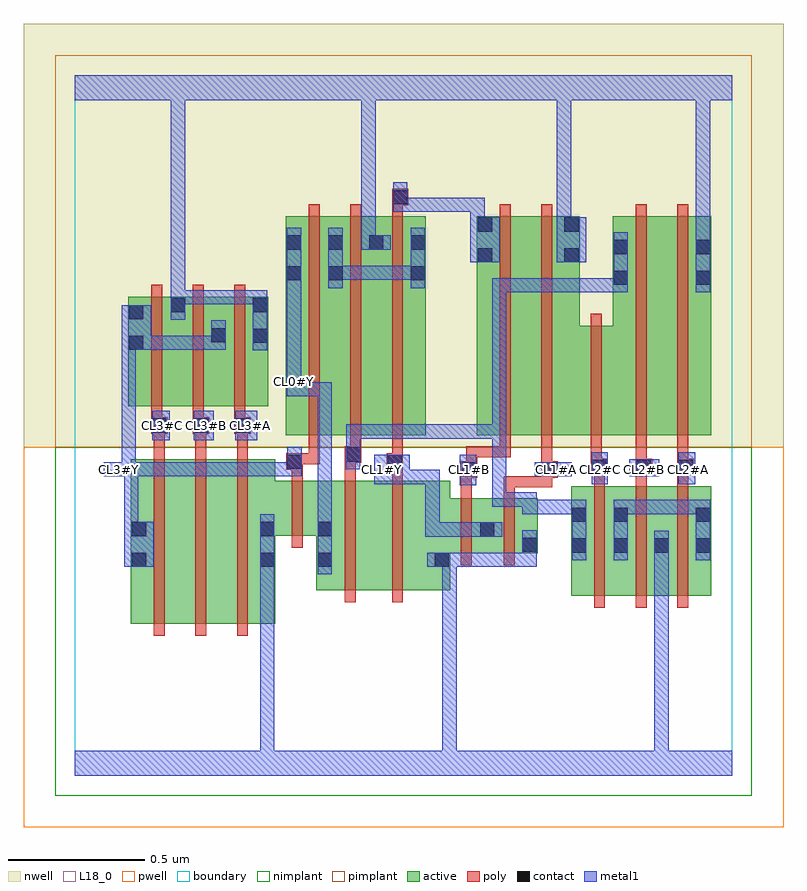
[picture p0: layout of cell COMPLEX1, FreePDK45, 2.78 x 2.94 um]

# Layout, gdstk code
import gdstk
lib = gdstk.Library(unit=1e-6, precision=1e-09)
def R(c, l, rs):  # rectangles x0, y0, x1, y1
    for r in rs: c.add(gdstk.rectangle(r[:2], r[2:], *l))
def A(c, l, x, y, w, h, nx, ny, dx, dy):  # array of equal rectangles
    R(c, l, [(x+i*dx, y+j*dy, x+i*dx+w, y+j*dy+h) for i in range(nx) for j in range(ny)])
active = (1, 0)
pwell = (2, 0)
nwell = (3, 0)
nimplant = (4, 0)
pimplant = (5, 0)
poly = (9, 0)
contact = (10, 0)
metal1 = (11, 0)
L18_0 = (18, 0)
boundary = (235, 0)

complex1 = lib.new_cell('COMPLEX1')
R(complex1, active, [(0.204,0.556,0.384,1.156), (0.204,0.556,0.264,1.156), (0.384,0.556,0.536,1.156), (0.536,0.556,0.732,1.156), (1.812,0.658,2.024,1.058), (1.964,0.658,2.172,1.058), (2.112,0.658,2.324,1.058), (2.112,0.658,2.172,1.058), (0.882,0.678,1.102,1.078), (0.882,0.678,0.942,0.932), (1.102,0.678,1.37,1.078), (1.812,0.756,1.872,1.058), (1.964,0.756,2.024,0.984), (2.264,0.756,2.324,1.058), (0.672,0.76,0.732,1.078), (1.31,0.76,1.37,0.82), (1.31,0.814,1.536,1.014), (1.476,0.814,1.69,1.014), (1.476,0.814,1.536,0.93), (1.63,0.814,1.69,1.014), (0.672,0.878,0.942,1.078), (0.77,1.244,0.83,2.044), (0.77,1.244,0.982,2.044), (0.922,1.244,1.13,2.044), (1.07,1.244,1.282,2.044), (1.222,1.244,1.282,2.044), (1.468,1.244,1.528,2.044), (1.468,1.244,1.648,2.044), (1.648,1.244,1.844,2.044), (1.784,1.244,1.844,2.044), (1.784,1.244,2.024,1.644), (1.964,1.244,2.024,2.044), (1.964,1.244,2.144,2.044), (2.144,1.244,2.324,2.044), (2.264,1.244,2.324,2.044), (0.194,1.35,0.406,1.75), (0.194,1.35,0.254,1.724), (0.346,1.35,0.406,1.75), (0.346,1.35,0.554,1.75), (0.494,1.35,0.706,1.75), (0.494,1.35,0.554,1.644), (0.646,1.35,0.706,1.75), (0.922,1.686,0.982,2.044), (1.07,1.686,1.13,2.044)])
R(complex1, pwell, [(-0.188,-0.188,2.588,1.2)])
R(complex1, nwell, [(-0.188,1.2,2.588,2.748)])
R(complex1, nimplant, [(-0.072,-0.072,2.472,1.2)])
R(complex1, pimplant, [(-0.072,1.2,2.472,2.632)])
A(complex1, poly, 0.288, 0.512, 0.04, 0.688, 3, 1, 0.152, 0)
A(complex1, poly, 1.896, 0.614, 0.04, 0.488, 3, 1, 0.152, 0)
A(complex1, poly, 1.896, 1.062, 0.04, 0.076, 3, 1, 0.152, 0)
A(complex1, poly, 0.288, 1.16, 0.04, 0.13, 3, 1, 0.152, 0)
A(complex1, poly, 0.854, 1.2, 0.04, 0.888, 3, 1, 0.152, 0)
A(complex1, poly, 0.278, 1.25, 0.06, 0.06, 3, 1, 0.152, 0)
A(complex1, poly, 0.278, 1.27, 0.04, 0.076, 3, 1, 0.152, 0)
A(complex1, poly, 0.278, 1.306, 0.04, 0.488, 3, 1, 0.152, 0)
R(complex1, poly, [(0.986,0.634,1.026,1.122), (1.158,0.634,1.198,1.122), (1.41,0.77,1.45,1.058), (1.566,0.77,1.606,1.058), (0.792,0.834,0.832,1.122), (1.41,1.018,1.45,1.13), (1.566,1.018,1.606,1.094), (1.566,1.054,1.744,1.094), (1.704,1.054,1.744,1.13), (0.792,1.082,0.832,1.158), (0.986,1.082,1.026,1.184), (1.158,1.082,1.198,1.158), (1.41,1.09,1.47,1.15), (1.704,1.09,1.764,1.15), (1.884,1.098,1.944,1.158), (1.896,1.098,1.936,1.138), (1.896,1.098,1.936,1.138), (2.048,1.098,2.108,1.158), (2.2,1.098,2.24,1.138), (2.2,1.098,2.24,1.138), (2.2,1.098,2.26,1.158), (1.43,1.11,1.47,1.204), (1.704,1.11,1.744,1.24), (0.772,1.118,0.832,1.178), (1.138,1.118,1.198,1.178), (1.884,1.118,1.924,1.24), (2.048,1.118,2.088,1.24), (2.048,1.118,2.088,1.158), (2.048,1.118,2.088,1.158), (2.2,1.118,2.24,1.24), (0.792,1.138,0.832,1.178), (0.792,1.138,0.894,1.178), (0.854,1.138,0.894,1.24), (1.158,1.138,1.198,1.178), (1.158,1.138,1.198,1.178), (1.158,1.138,1.198,1.24), (0.986,1.144,1.026,1.184), (0.986,1.144,1.026,1.184), (0.986,1.144,1.046,1.204), (1.006,1.164,1.046,1.24), (1.43,1.164,1.592,1.204), (1.552,1.164,1.592,1.24), (1.552,1.2,1.592,2.088), (1.704,1.2,1.744,2.088), (1.884,1.2,1.924,1.688), (2.048,1.2,2.088,2.088), (2.2,1.2,2.24,2.088), (0.288,1.25,0.328,1.29), (0.288,1.25,0.328,1.29), (0.44,1.25,0.48,1.29), (0.44,1.25,0.48,1.29), (0.592,1.25,0.632,1.29), (0.592,1.25,0.632,1.29), (1.158,2.048,1.198,2.124), (1.158,2.084,1.218,2.144)])
A(complex1, contact, 0.282, 1.254, 0.052, 0.052, 3, 1, 0.152, 0)
R(complex1, contact, [(0.208,0.764,0.26,0.816), (0.676,0.764,0.728,0.816), (0.886,0.764,0.938,0.816), (1.314,0.764,1.366,0.816), (1.816,0.816,1.868,0.868), (1.968,0.816,2.02,0.868), (2.116,0.816,2.168,0.868), (2.268,0.816,2.32,0.868), (1.634,0.818,1.686,0.87), (1.48,0.874,1.532,0.926), (0.208,0.876,0.26,0.928), (0.676,0.876,0.728,0.928), (0.886,0.876,0.938,0.928), (1.816,0.928,1.868,0.98), (1.968,0.928,2.02,0.98), (2.268,0.928,2.32,0.98), (1.414,1.094,1.466,1.146), (1.708,1.094,1.76,1.146), (1.888,1.102,1.94,1.154), (2.052,1.102,2.104,1.154), (2.204,1.102,2.256,1.154), (0.776,1.122,0.828,1.174), (1.142,1.122,1.194,1.174), (0.99,1.148,1.042,1.2), (0.198,1.556,0.25,1.608), (0.65,1.582,0.702,1.634), (0.498,1.584,0.55,1.636), (0.198,1.668,0.25,1.72), (0.35,1.694,0.402,1.746), (0.65,1.694,0.702,1.746), (1.968,1.794,2.02,1.846), (2.268,1.794,2.32,1.846), (0.774,1.81,0.826,1.862), (0.926,1.81,0.978,1.862), (1.226,1.81,1.278,1.862), (1.472,1.876,1.524,1.928), (1.788,1.876,1.84,1.928), (1.968,1.906,2.02,1.958), (2.268,1.906,2.32,1.958), (0.774,1.922,0.826,1.974), (0.926,1.922,0.978,1.974), (1.074,1.922,1.126,1.974), (1.226,1.922,1.278,1.974), (1.472,1.988,1.524,2.04), (1.788,1.988,1.84,2.04), (1.162,2.088,1.214,2.14)])
A(complex1, metal1, 0.35, 1.094, 0.052, 0.052, 3, 1, 0.11, 0)
R(complex1, metal1, [(0,0,2.4,0.092), (0.676,0.04,0.728,0.092), (0.676,0.04,0.728,0.092), (0.676,0.04,0.728,0.092), (0.676,0.04,0.728,0.092), (0.676,0.04,0.728,0.092), (0.676,0.04,0.728,0.092), (0.676,0.04,0.728,0.092), (0.676,0.04,0.728,0.092), (0.676,0.04,0.728,0.788), (1.342,0.04,1.394,0.092), (1.342,0.04,1.394,0.092), (1.342,0.04,1.394,0.092), (1.342,0.04,1.394,0.092), (1.342,0.04,1.394,0.092), (1.342,0.04,1.394,0.092), (1.342,0.04,1.394,0.092), (1.342,0.04,1.394,0.092), (1.342,0.04,1.394,0.816), (2.116,0.04,2.168,0.092), (2.116,0.04,2.168,0.092), (2.116,0.04,2.168,0.092), (2.116,0.04,2.168,0.092), (2.116,0.04,2.168,0.092), (2.116,0.04,2.168,0.092), (2.116,0.04,2.168,0.092), (2.116,0.04,2.168,0.092), (2.116,0.04,2.168,0.84), (0.676,0.736,0.728,0.956), (0.886,0.736,0.938,0.956), (0.18,0.764,0.288,0.928), (1.286,0.764,1.394,0.816), (1.342,0.764,1.394,0.816), (1.342,0.764,1.394,0.816), (1.342,0.764,1.394,0.816), (1.342,0.764,1.394,0.816), (1.342,0.764,1.394,0.816), (1.342,0.764,1.394,0.816), (1.342,0.764,1.394,0.816), (1.342,0.764,1.394,0.816), (1.342,0.764,1.576,0.816), (1.524,0.764,1.576,0.816), (1.524,0.764,1.576,0.816), (1.524,0.764,1.576,0.816), (1.524,0.764,1.686,0.816), (1.634,0.764,1.686,0.842), (1.816,0.788,1.868,1.008), (1.968,0.788,2.02,1.008), (2.116,0.788,2.168,0.84), (2.116,0.788,2.168,0.84), (2.116,0.788,2.168,0.84), (2.116,0.788,2.168,0.84), (2.116,0.788,2.168,0.896), (2.268,0.788,2.32,1.008), (1.634,0.79,1.686,0.842), (1.634,0.79,1.686,0.898), (1.28,0.874,1.332,0.926), (1.28,0.874,1.504,0.926), (1.28,0.874,1.332,1.118), (1.452,0.874,1.504,0.926), (1.452,0.874,1.504,0.926), (1.452,0.874,1.56,0.926), (0.18,0.876,0.232,1.146), (0.886,0.904,0.938,0.956), (0.886,0.904,0.938,0.956), (0.886,0.904,0.938,1.438), (1.634,0.956,1.868,1.008), (1.634,0.956,1.686,1.036), (1.816,0.956,1.868,1.008), (1.816,0.956,1.868,1.008), (1.968,0.956,2.02,1.008), (1.968,0.956,2.02,1.008), (1.968,0.956,2.21,1.008), (2.158,0.956,2.21,1.008), (2.158,0.956,2.32,1.008), (2.268,0.956,2.32,1.008), (2.268,0.956,2.32,1.008), (1.524,0.984,1.576,1.036), (1.524,0.984,1.686,1.036), (1.524,0.984,1.576,1.284), (1.634,0.984,1.686,1.036), (1.634,0.984,1.686,1.036), (1.406,1.062,1.466,1.174), (1.094,1.066,1.222,1.174), (1.17,1.066,1.332,1.118), (1.28,1.066,1.332,1.118), (1.28,1.066,1.332,1.118), (1.28,1.066,1.332,1.118), (1.888,1.066,1.946,1.182), (2.204,1.066,2.266,1.182), (0.106,1.094,0.232,1.146), (0.17,1.094,0.222,1.608), (0.18,1.094,0.232,1.146), (0.18,1.094,0.232,1.146), (0.18,1.094,0.402,1.146), (0.35,1.094,0.402,1.146), (0.35,1.094,0.402,1.146), (0.35,1.094,0.512,1.146), (0.46,1.094,0.622,1.146), (0.57,1.094,0.622,1.146), (0.57,1.094,0.622,1.146), (0.57,1.094,0.828,1.146), (0.776,1.094,0.828,1.146), (0.776,1.094,0.828,1.146), (0.776,1.094,0.828,1.202), (1.68,1.094,1.814,1.146), (2.024,1.094,2.134,1.156), (0.99,1.12,1.042,1.284), (0.282,1.226,0.346,1.334), (0.434,1.226,0.506,1.334), (0.586,1.226,0.666,1.334), (0.99,1.232,1.168,1.284), (1.116,1.232,1.168,1.284), (1.116,1.232,1.168,1.284), (1.116,1.232,1.168,1.284), (1.116,1.232,1.348,1.284), (1.296,1.232,1.348,1.284), (1.296,1.232,1.348,1.284), (1.296,1.232,1.348,1.284), (1.296,1.232,1.576,1.284), (1.524,1.232,1.576,1.818), (1.524,1.232,1.576,1.284), (1.524,1.232,1.576,1.284), (1.524,1.232,1.576,1.284), (0.774,1.386,0.826,1.438), (0.774,1.386,0.826,1.438), (0.774,1.386,0.826,1.494), (0.774,1.386,0.938,1.438), (0.886,1.386,0.938,1.438), (0.774,1.442,0.826,1.834), (0.65,1.554,0.702,1.774), (0.17,1.556,0.222,1.608), (0.17,1.556,0.222,1.608), (0.17,1.556,0.278,1.72), (0.226,1.556,0.278,1.608), (0.226,1.556,0.278,1.608), (0.226,1.556,0.388,1.608), (0.336,1.556,0.388,1.608), (0.336,1.556,0.388,1.608), (0.336,1.556,0.388,1.608), (0.336,1.556,0.55,1.608), (0.498,1.556,0.55,1.664), (0.35,1.666,0.402,1.774), (0.35,1.722,0.402,1.774), (0.35,1.722,0.402,1.774), (0.35,1.722,0.512,1.774), (0.35,1.722,0.402,2.52), (0.46,1.722,0.512,1.774), (0.46,1.722,0.512,1.774), (0.46,1.722,0.512,1.774), (0.46,1.722,0.702,1.774), (1.524,1.766,1.576,1.818), (1.524,1.766,1.686,1.818), (1.634,1.766,1.686,1.818), (1.634,1.766,1.686,1.818), (1.634,1.766,1.686,1.818), (1.634,1.766,1.91,1.818), (1.858,1.766,1.91,1.818), (1.858,1.766,1.91,1.818), (1.858,1.766,1.91,1.818), (1.858,1.766,2.02,1.818), (1.968,1.766,2.02,1.986), (2.268,1.766,2.32,1.986), (0.774,1.782,0.826,2.002), (0.926,1.782,0.978,2.002), (1.226,1.782,1.278,2.002), (0.926,1.812,0.978,1.864), (0.926,1.812,0.978,1.864), (0.926,1.812,1.152,1.864), (1.1,1.812,1.152,1.864), (1.1,1.812,1.152,1.864), (1.1,1.812,1.152,1.864), (1.1,1.812,1.278,1.864), (1.444,1.876,1.552,2.04), (1.76,1.876,1.868,2.04), (1.046,1.922,1.154,1.974), (1.046,1.922,1.098,2.52), (2.268,1.934,2.32,2.52), (2.268,1.934,2.32,1.986), (2.268,1.934,2.32,1.986), (2.268,1.934,2.32,1.986), (2.268,1.934,2.32,1.986), (2.268,1.934,2.32,1.986), (2.268,1.934,2.32,1.986), (1.444,1.988,1.496,2.112), (1.76,1.988,1.812,2.04), (1.76,1.988,1.812,2.04), (1.76,1.988,1.812,2.52), (1.162,2.06,1.214,2.168), (1.162,2.06,1.278,2.112), (1.226,2.06,1.278,2.112), (1.226,2.06,1.496,2.112), (1.444,2.06,1.496,2.112), (0,2.468,2.4,2.56), (0.35,2.468,0.402,2.52), (0.35,2.468,0.402,2.52), (0.35,2.468,0.402,2.52), (0.35,2.468,0.402,2.52), (0.35,2.468,0.402,2.52), (0.35,2.468,0.402,2.52), (0.35,2.468,0.402,2.52), (0.35,2.468,0.402,2.52), (0.35,2.468,0.402,2.52), (0.35,2.468,0.402,2.52), (0.35,2.468,0.402,2.52), (0.35,2.468,0.402,2.52), (0.35,2.468,0.402,2.52), (0.35,2.468,0.402,2.52), (0.35,2.468,0.402,2.52), (0.35,2.468,0.402,2.52), (1.046,2.468,1.098,2.52), (1.046,2.468,1.098,2.52), (1.046,2.468,1.098,2.52), (1.046,2.468,1.098,2.52), (1.046,2.468,1.098,2.52), (1.046,2.468,1.098,2.52), (1.046,2.468,1.098,2.52), (1.046,2.468,1.098,2.52), (1.76,2.468,1.812,2.52), (1.76,2.468,1.812,2.52), (1.76,2.468,1.812,2.52), (1.76,2.468,1.812,2.52), (1.76,2.468,1.812,2.52), (1.76,2.468,1.812,2.52), (2.268,2.468,2.32,2.52), (2.268,2.468,2.32,2.52)])
A(complex1, L18_0, 0.35, 1.094, 0.052, 0.052, 3, 1, 0.11, 0)
A(complex1, L18_0, 1.094, 1.094, 0.052, 0.052, 3, 1, 0.32, 0)
A(complex1, L18_0, 1.894, 1.094, 0.052, 0.052, 3, 1, 0.16, 0)
A(complex1, L18_0, 0.294, 1.254, 0.052, 0.052, 3, 1, 0.16, 0)
R(complex1, L18_0, [(0,0,2.4,0.092), (0.676,0.04,0.728,0.092), (0.676,0.04,0.728,0.092), (0.676,0.04,0.728,0.092), (0.676,0.04,0.728,0.092), (0.676,0.04,0.728,0.092), (0.676,0.04,0.728,0.092), (0.676,0.04,0.728,0.092), (0.676,0.04,0.728,0.092), (0.676,0.04,0.728,0.788), (1.342,0.04,1.394,0.092), (1.342,0.04,1.394,0.092), (1.342,0.04,1.394,0.092), (1.342,0.04,1.394,0.092), (1.342,0.04,1.394,0.092), (1.342,0.04,1.394,0.092), (1.342,0.04,1.394,0.092), (1.342,0.04,1.394,0.092), (1.342,0.04,1.394,0.816), (2.116,0.04,2.168,0.092), (2.116,0.04,2.168,0.092), (2.116,0.04,2.168,0.092), (2.116,0.04,2.168,0.092), (2.116,0.04,2.168,0.092), (2.116,0.04,2.168,0.092), (2.116,0.04,2.168,0.092), (2.116,0.04,2.168,0.092), (2.116,0.04,2.168,0.84), (0.676,0.736,0.728,0.956), (0.886,0.736,0.938,0.956), (0.18,0.764,0.288,0.928), (1.286,0.764,1.394,0.816), (1.342,0.764,1.394,0.816), (1.342,0.764,1.394,0.816), (1.342,0.764,1.394,0.816), (1.342,0.764,1.394,0.816), (1.342,0.764,1.394,0.816), (1.342,0.764,1.394,0.816), (1.342,0.764,1.394,0.816), (1.342,0.764,1.394,0.816), (1.342,0.764,1.576,0.816), (1.524,0.764,1.576,0.816), (1.524,0.764,1.576,0.816), (1.524,0.764,1.576,0.816), (1.524,0.764,1.686,0.816), (1.634,0.764,1.686,0.842), (2.116,0.788,2.168,0.84), (2.116,0.788,2.168,0.84), (2.116,0.788,2.168,0.84), (2.116,0.788,2.168,0.84), (2.116,0.788,2.168,0.896), (1.634,0.79,1.686,0.842), (1.634,0.79,1.686,0.898), (1.28,0.874,1.332,0.926), (1.28,0.874,1.332,1.118), (1.28,0.874,1.504,0.926), (1.452,0.874,1.504,0.926), (1.452,0.874,1.504,0.926), (1.452,0.874,1.56,0.926), (0.18,0.876,0.232,1.146), (0.886,0.904,0.938,0.956), (0.886,0.904,0.938,0.956), (0.886,0.904,0.938,1.438), (1.406,1.062,1.466,1.174), (1.094,1.066,1.222,1.174), (1.17,1.066,1.332,1.118), (1.28,1.066,1.332,1.118), (1.28,1.066,1.332,1.118), (1.28,1.066,1.332,1.118), (1.888,1.066,1.946,1.182), (2.204,1.066,2.266,1.182), (0.106,1.094,0.232,1.146), (0.134,1.094,0.186,1.146), (0.17,1.094,0.222,1.608), (0.18,1.094,0.232,1.146), (0.18,1.094,0.232,1.146), (0.18,1.094,0.402,1.146), (0.35,1.094,0.402,1.146), (0.35,1.094,0.402,1.146), (0.35,1.094,0.512,1.146), (0.46,1.094,0.622,1.146), (0.57,1.094,0.622,1.146), (0.57,1.094,0.622,1.146), (0.57,1.094,0.828,1.146), (0.776,1.094,0.828,1.146), (0.776,1.094,0.828,1.146), (0.776,1.094,0.828,1.202), (1.68,1.094,1.814,1.146), (2.024,1.094,2.134,1.156), (0.282,1.226,0.346,1.334), (0.434,1.226,0.506,1.334), (0.586,1.226,0.666,1.334), (0.774,1.386,0.826,1.438), (0.774,1.386,0.826,1.438), (0.774,1.386,0.826,1.494), (0.774,1.386,0.938,1.438), (0.886,1.386,0.938,1.438), (0.774,1.414,0.826,1.466), (0.774,1.442,0.826,1.834), (0.65,1.554,0.702,1.774), (0.17,1.556,0.278,1.72), (0.17,1.556,0.222,1.608), (0.17,1.556,0.222,1.608), (0.226,1.556,0.278,1.608), (0.226,1.556,0.278,1.608), (0.226,1.556,0.388,1.608), (0.336,1.556,0.388,1.608), (0.336,1.556,0.388,1.608), (0.336,1.556,0.388,1.608), (0.336,1.556,0.55,1.608), (0.498,1.556,0.55,1.664), (0.35,1.666,0.402,1.774), (0.35,1.722,0.402,1.774), (0.35,1.722,0.402,1.774), (0.35,1.722,0.512,1.774), (0.35,1.722,0.402,2.52), (0.46,1.722,0.512,1.774), (0.46,1.722,0.512,1.774), (0.46,1.722,0.512,1.774), (0.46,1.722,0.702,1.774), (2.268,1.766,2.32,1.986), (0.774,1.782,0.826,2.002), (1.444,1.876,1.552,2.04), (1.76,1.876,1.868,2.04), (1.046,1.922,1.154,1.974), (1.046,1.922,1.098,2.52), (2.268,1.934,2.32,1.986), (2.268,1.934,2.32,1.986), (2.268,1.934,2.32,1.986), (2.268,1.934,2.32,1.986), (2.268,1.934,2.32,1.986), (2.268,1.934,2.32,1.986), (2.268,1.934,2.32,2.52), (1.444,1.988,1.496,2.112), (1.76,1.988,1.812,2.04), (1.76,1.988,1.812,2.04), (1.76,1.988,1.812,2.52), (1.162,2.06,1.214,2.168), (1.162,2.06,1.278,2.112), (1.226,2.06,1.278,2.112), (1.226,2.06,1.496,2.112), (1.444,2.06,1.496,2.112), (0,2.468,2.4,2.56), (0.35,2.468,0.402,2.52), (0.35,2.468,0.402,2.52), (0.35,2.468,0.402,2.52), (0.35,2.468,0.402,2.52), (0.35,2.468,0.402,2.52), (0.35,2.468,0.402,2.52), (0.35,2.468,0.402,2.52), (0.35,2.468,0.402,2.52), (0.35,2.468,0.402,2.52), (0.35,2.468,0.402,2.52), (0.35,2.468,0.402,2.52), (0.35,2.468,0.402,2.52), (0.35,2.468,0.402,2.52), (0.35,2.468,0.402,2.52), (0.35,2.468,0.402,2.52), (0.35,2.468,0.402,2.52), (1.046,2.468,1.098,2.52), (1.046,2.468,1.098,2.52), (1.046,2.468,1.098,2.52), (1.046,2.468,1.098,2.52), (1.046,2.468,1.098,2.52), (1.046,2.468,1.098,2.52), (1.046,2.468,1.098,2.52), (1.046,2.468,1.098,2.52), (1.76,2.468,1.812,2.52), (1.76,2.468,1.812,2.52), (1.76,2.468,1.812,2.52), (1.76,2.468,1.812,2.52), (1.76,2.468,1.812,2.52), (1.76,2.468,1.812,2.52), (2.268,2.468,2.32,2.52), (2.268,2.468,2.32,2.52)])
R(complex1, boundary, [(0,0,2.4,2.56)])
complex1.add(gdstk.Label('CL0#Y', (0.8,1.44), layer=11, texttype=0))
complex1.add(gdstk.Label('CL1#A', (1.76,1.12), layer=11, texttype=0))
complex1.add(gdstk.Label('CL1#B', (1.44,1.12), layer=11, texttype=0))
complex1.add(gdstk.Label('CL1#Y', (1.12,1.12), layer=11, texttype=0))
complex1.add(gdstk.Label('CL2#A', (2.24,1.12), layer=11, texttype=0))
complex1.add(gdstk.Label('CL2#B', (2.08,1.12), layer=11, texttype=0))
complex1.add(gdstk.Label('CL2#C', (1.92,1.12), layer=11, texttype=0))
complex1.add(gdstk.Label('CL3#A', (0.64,1.28), layer=11, texttype=0))
complex1.add(gdstk.Label('CL3#B', (0.48,1.28), layer=11, texttype=0))
complex1.add(gdstk.Label('CL3#C', (0.32,1.28), layer=11, texttype=0))
complex1.add(gdstk.Label('CL3#Y', (0.16,1.12), layer=11, texttype=0))

lib.write_gds('COMPLEX1.gds')
